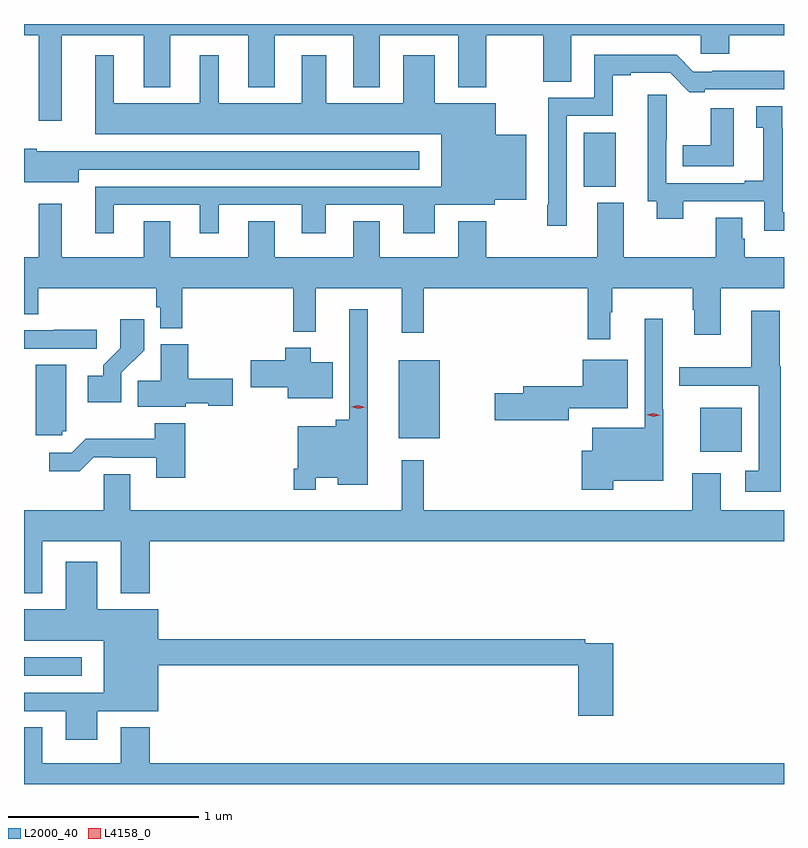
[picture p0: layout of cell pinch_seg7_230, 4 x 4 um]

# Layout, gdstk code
import gdstk
lib = gdstk.Library(unit=1e-6, precision=1e-09)
def R(c, l, rs):  # rectangles x0, y0, x1, y1
    for r in rs: c.add(gdstk.rectangle(r[:2], r[2:], *l))
def P(c, l, *ps):  # polygons
    for p in ps: c.add(gdstk.Polygon(p, *l))
L2000_40 = (2000, 40)
L4158_0 = (4158, 0)

pinch_seg7_230 = lib.new_cell('pinch_seg7_230')
R(pinch_seg7_230, L2000_40, [(841.512,1062.513,841.816,1062.609), (845.072,1063.691,845.29,1063.924), (843.485,1063.763,843.7,1064.173), (844.457,1065.086,844.627,1065.37)])
P(pinch_seg7_230, L2000_40, [(841.711,1065.884),(842.141,1065.884),(842.141,1065.611),(842.281,1065.611),(842.281,1065.884),(842.693,1065.884),(842.693,1065.611),(842.833,1065.611),(842.833,1065.884),(843.245,1065.884),(843.245,1065.611),(843.385,1065.611),(843.385,1065.884),(843.797,1065.884),(843.797,1065.611),(843.945,1065.611),(843.945,1065.884),(844.246,1065.884),(844.246,1065.64),(844.393,1065.64),(844.393,1065.884),(845.073,1065.884),(845.073,1065.786),(845.225,1065.786),(845.225,1065.884),(845.512,1065.884),(845.512,1065.943),(841.512,1065.943),(841.512,1065.884),(841.59,1065.884),(841.59,1065.435),(841.711,1065.435)],
  [(844.368,1065.459),(844.61,1065.459),(844.61,1065.672),(844.705,1065.672),(844.705,1065.686),(844.912,1065.686),(845.013,1065.585),(845.095,1065.585),(845.095,1065.6),(845.512,1065.6),(845.512,1065.698),(845.134,1065.698),(845.134,1065.693),(845.034,1065.693),(844.947,1065.78),(844.512,1065.78),(844.512,1065.555),(844.272,1065.555),(844.272,1064.992),(844.267,1064.992),(844.267,1064.88),(844.368,1064.88)],
  [(841.984,1064.991),(842.438,1064.991),(842.438,1064.841),(842.536,1064.841),(842.536,1064.991),(842.975,1064.991),(842.975,1064.841),(843.1,1064.841),(843.1,1064.991),(843.509,1064.991),(843.509,1064.841),(843.673,1064.841),(843.673,1064.991),(843.99,1064.991),(843.99,1065.017),(844.156,1065.017),(844.156,1065.361),(843.994,1065.361),(843.994,1065.526),(843.673,1065.526),(843.673,1065.778),(843.509,1065.778),(843.509,1065.526),(843.103,1065.526),(843.103,1065.778),(842.975,1065.778),(842.975,1065.526),(842.536,1065.526),(842.536,1065.778),(842.438,1065.778),(842.438,1065.526),(841.984,1065.526),(841.984,1065.778),(841.886,1065.778),(841.886,1065.362),(843.707,1065.362),(843.707,1065.087),(841.886,1065.087),(841.886,1064.841),(841.984,1064.841)],
  [(845.512,1064.952),(845.506,1064.952),(845.506,1065.398),(845.504,1065.398),(845.504,1065.511),(845.366,1065.511),(845.366,1065.398),(845.402,1065.398),(845.402,1065.118),(845.306,1065.118),(845.306,1065.105),(844.893,1065.105),(844.893,1065.33),(844.896,1065.33),(844.896,1065.571),(844.796,1065.571),(844.796,1065.009),(844.841,1065.009),(844.841,1064.918),(844.981,1064.918),(844.981,1065.009),(845.409,1065.009),(845.409,1064.855),(845.512,1064.855)],
  [(845.248,1065.499),(845.126,1065.499),(845.126,1065.304),(844.978,1065.304),(844.978,1065.195),(845.248,1065.195)],
  [(841.801,1065.177),(843.592,1065.177),(843.592,1065.273),(841.797,1065.273),(841.797,1065.274),(841.578,1065.274),(841.578,1065.287),(841.512,1065.287),(841.512,1065.109),(841.801,1065.109)],
  [(844.529,1064.716),(843.945,1064.716),(843.945,1064.905),(843.797,1064.905),(843.797,1064.716),(843.385,1064.716),(843.385,1064.906),(843.245,1064.906),(843.245,1064.716),(842.833,1064.716),(842.833,1064.906),(842.693,1064.906),(842.693,1064.716),(842.281,1064.716),(842.281,1064.906),(842.141,1064.906),(842.141,1064.716),(841.711,1064.716),(841.711,1064.998),(841.59,1064.998),(841.59,1064.716),(841.512,1064.716),(841.512,1064.416),(841.586,1064.416),(841.586,1064.552),(842.209,1064.552),(842.209,1064.451),(842.229,1064.451),(842.229,1064.342),(842.345,1064.342),(842.345,1064.552),(842.929,1064.552),(842.929,1064.324),(843.047,1064.324),(843.047,1064.552),(843.5,1064.552),(843.5,1064.319),(843.617,1064.319),(843.617,1064.552),(844.48,1064.552),(844.48,1064.283),(844.598,1064.283),(844.598,1064.426),(844.609,1064.426),(844.609,1064.552),(845.032,1064.552),(845.032,1064.438),(845.039,1064.438),(845.039,1064.307),(845.179,1064.307),(845.179,1064.552),(845.512,1064.552),(845.512,1064.716),(845.306,1064.716),(845.306,1064.814),(845.293,1064.814),(845.293,1064.924),(845.153,1064.924),(845.153,1064.716),(844.669,1064.716),(844.669,1065.001),(844.529,1065.001)],
  [(843.048,1063.556),(843.164,1063.556),(843.164,1063.517),(843.322,1063.517),(843.322,1064.443),(843.225,1064.443),(843.225,1063.861),(843.152,1063.861),(843.152,1063.825),(842.952,1063.825),(842.952,1063.603),(842.932,1063.603),(842.932,1063.491),(843.048,1063.491)],
  [(845.495,1064.143),(845.489,1064.143),(845.489,1064.434),(845.339,1064.434),(845.339,1064.137),(844.96,1064.137),(844.96,1064.04),(845.379,1064.04),(845.379,1063.591),(845.307,1063.591),(845.307,1063.482),(845.495,1063.482)],
  [(844.612,1063.538),(844.877,1063.538),(844.877,1063.915),(844.875,1063.915),(844.875,1064.392),(844.779,1064.392),(844.779,1063.819),(844.502,1063.819),(844.502,1063.696),(844.448,1063.696),(844.448,1063.493),(844.612,1063.493)],
  [(842.025,1064.107),(842.144,1064.226),(842.144,1064.389),(842.019,1064.389),(842.019,1064.237),(841.928,1064.147),(841.928,1064.092),(841.848,1064.092),(841.848,1063.952),(842.025,1063.952)],
  [(841.894,1064.334),(841.669,1064.334),(841.669,1064.331),(841.512,1064.331),(841.512,1064.235),(841.894,1064.235)],
  [(842.364,1063.946),(842.481,1063.946),(842.481,1063.934),(842.611,1063.934),(842.611,1064.076),(842.376,1064.076),(842.376,1064.257),(842.231,1064.257),(842.231,1064.066),(842.11,1064.066),(842.11,1063.928),(842.364,1063.928)],
  [(843.136,1064.164),(843.022,1064.164),(843.022,1064.239),(842.888,1064.239),(842.888,1064.172),(842.706,1064.172),(842.706,1064.03),(842.9,1064.03),(842.9,1063.973),(843.136,1063.973)],
  [(844.378,1063.92),(844.69,1063.92),(844.69,1064.176),(844.454,1064.176),(844.454,1064.036),(844.139,1064.036),(844.139,1064),(843.99,1064),(843.99,1063.858),(844.378,1063.858)],
  [(841.713,1063.8),(841.735,1063.8),(841.735,1064.149),(841.574,1064.149),(841.574,1063.779),(841.713,1063.779)],
  [(842.36,1063.843),(842.2,1063.843),(842.2,1063.759),(841.837,1063.759),(841.764,1063.686),(841.644,1063.686),(841.644,1063.589),(841.805,1063.589),(841.878,1063.662),(841.978,1063.662),(841.978,1063.659),(842.207,1063.659),(842.207,1063.554),(842.36,1063.554)],
  [(841.609,1063.22),(842.021,1063.22),(842.021,1062.947),(842.174,1062.947),(842.174,1063.22),(845.512,1063.22),(845.512,1063.384),(845.179,1063.384),(845.179,1063.579),(845.03,1063.579),(845.03,1063.384),(843.617,1063.384),(843.617,1063.648),(843.5,1063.648),(843.5,1063.384),(842.071,1063.384),(842.071,1063.574),(841.932,1063.574),(841.932,1063.384),(841.512,1063.384),(841.512,1062.947),(841.609,1062.947)],
  [(841.897,1062.327),(842.218,1062.327),(842.218,1062.568),(844.43,1062.568),(844.43,1062.303),(844.613,1062.303),(844.613,1062.684),(844.466,1062.684),(844.466,1062.704),(842.218,1062.704),(842.218,1062.862),(841.897,1062.862),(841.897,1063.114),(841.733,1063.114),(841.733,1062.862),(841.512,1062.862),(841.512,1062.698),(841.931,1062.698),(841.931,1062.423),(841.512,1062.423),(841.512,1062.327),(841.733,1062.327),(841.733,1062.177),(841.897,1062.177)],
  [(845.512,1062.052),(842.174,1062.052),(842.174,1062.241),(842.021,1062.241),(842.021,1062.052),(841.609,1062.052),(841.609,1062.242),(841.512,1062.242),(841.512,1061.943),(845.512,1061.943)])
P(pinch_seg7_230, L4158_0, [(844.824,1063.875),(844.789,1063.887),(844.789,1063.887),(844.789,1063.887),(844.825,1063.895),(844.861,1063.883),(844.861,1063.883),(844.861,1063.883)],
  [(843.27,1063.917),(843.235,1063.928),(843.235,1063.929),(843.235,1063.929),(843.272,1063.937),(843.307,1063.925),(843.307,1063.925),(843.307,1063.925)])

lib.write_gds('pinch_seg7_230.gds')
